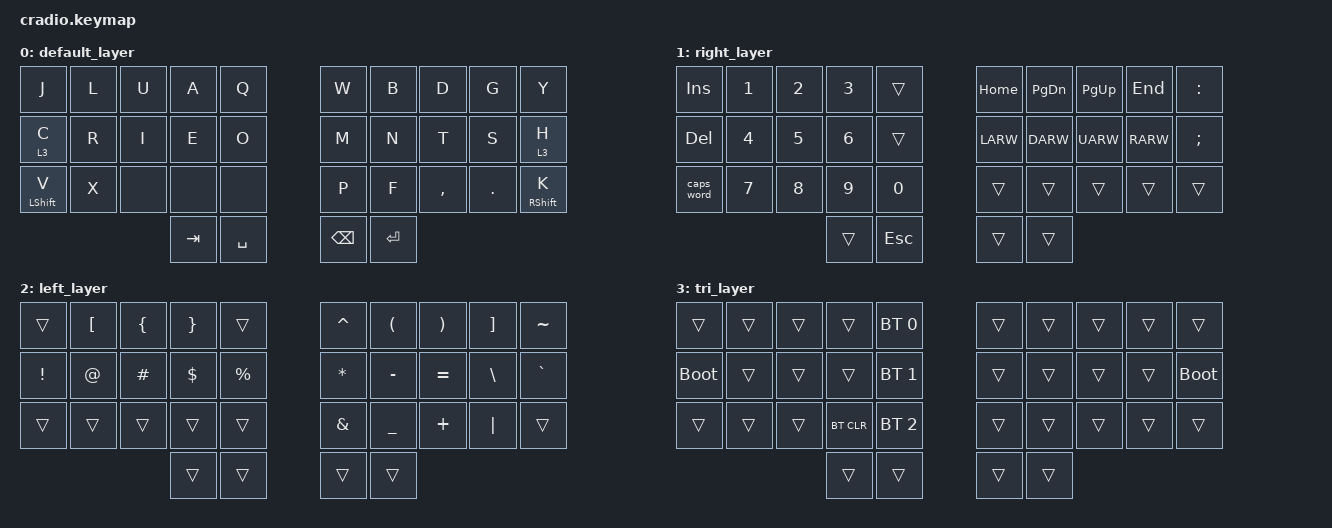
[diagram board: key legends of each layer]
// Copyright (c) 2022 The ZMK Contributors
// SPDX-License-Identifier: MIT

#include <behaviors.dtsi>
#include <dt-bindings/zmk/keys.h>
#include <dt-bindings/zmk/bt.h>

/ {
    behaviors {
        ht: hold_tap {
            label = "hold_tap";
            compatible = "zmk,behavior-hold-tap";
            #binding-cells = <2>;
            flavor = "tap-preferred";
            tapping-term-ms = <220>;
            quick-tap-ms = <150>;
            global-quick-tap;
            bindings =
                <&kp>,
                <&kp>;
        };
    };

    conditional_layers {
        compatible = "zmk,conditional-layers";

        tri_layer {
            if-layers = <1 2>;
            then-layer = <3>;
        };
    };

    keymap {
        compatible = "zmk,keymap";

        default_layer {
            bindings = <
           &kp J  &kp L  &kp U    &kp A      &kp Q          &kp W      &kp B      &kp D    &kp G              &kp Y
         &lt 3 C  &kp R  &kp I    &kp E      &kp O          &kp M      &kp N      &kp T    &kp S            &lt 3 H
&ht LEFT_SHIFT V  &kp X  &none    &none      &none          &kp P      &kp F  &kp COMMA  &kp DOT  &ht RIGHT_SHIFT K
                                &kp TAB  &kp SPACE  &kp BACKSPACE  &kp ENTER
            >;
        };

        right_layer {
            bindings = <
   &kp INS  &kp N1  &kp N2  &kp N3   &trans  &kp HOME  &kp PG_DN  &kp PG_UP   &kp END  &kp COLON
   &kp DEL  &kp N4  &kp N5  &kp N6   &trans  &kp LARW   &kp DARW   &kp UARW  &kp RARW   &kp SEMI
&caps_word  &kp N7  &kp N8  &kp N9   &kp N0    &trans     &trans     &trans    &trans     &trans
                            &trans  &kp ESC    &trans     &trans
            >;
        };

        left_layer {
            bindings = <
  &trans  &kp LBKT  &kp LBRC  &kp RBRC     &trans  &kp CARET   &kp LPAR   &kp RPAR  &kp RBKT  &kp TILDE
&kp EXCL    &kp AT  &kp HASH  &kp DLLR  &kp PRCNT  &kp ASTRK  &kp MINUS  &kp EQUAL  &kp BSLH  &kp GRAVE
  &trans    &trans    &trans    &trans     &trans   &kp AMPS  &kp UNDER   &kp PLUS  &kp PIPE     &trans
                                &trans     &trans     &trans     &trans
            >;
        };

        tri_layer {
            bindings = <
     &trans  &trans  &trans      &trans  &bt BT_SEL 0  &trans  &trans  &trans  &trans       &trans
&bootloader  &trans  &trans      &trans  &bt BT_SEL 1  &trans  &trans  &trans  &trans  &bootloader
     &trans  &trans  &trans  &bt BT_CLR  &bt BT_SEL 2  &trans  &trans  &trans  &trans       &trans
                                 &trans        &trans  &trans  &trans
            >;
        };
    };
};
